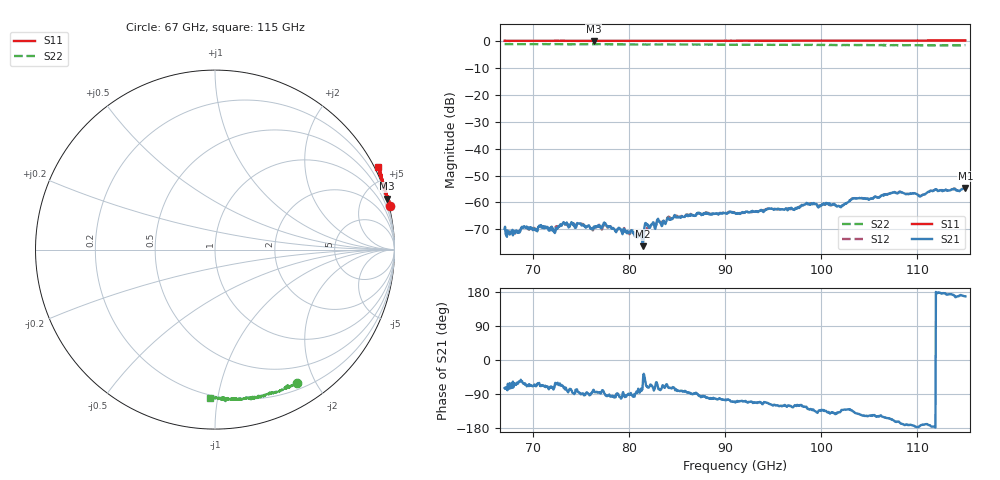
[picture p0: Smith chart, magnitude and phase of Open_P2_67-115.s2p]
!Keysight Technologies,N5247B,MY61256062,A.16.20.04
!Date: Tuesday, November 18, 2025 08:17:54
!Correction: S11(C  2-Port  )
!S21(C  2-Port  )
!S12(C  2-Port  )
!S22(C  2-Port  )
!S2P File: Measurements: S11, S21, S12, S22:
# Hz S  dB  R 50
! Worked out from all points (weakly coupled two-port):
!   1001 points, 67 GHz to 115 GHz, reference 50 ohm
!   highest |S21| = -54.66 dB at 115 GHz (marker M1); lowest = -76.2 dB at 81.4 GHz (marker M2)
!   lowest |S11| = 0.0 dB at 76.26 GHz (marker M3)
!   |S11| at or under -10 dB: nowhere
!   |S22| runs from -1.7 to -1.2 dB; largest |S21 - S12| = 0.00011
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6.7e10  0.06 13.9  -69.77 -74.0  -70.33 -74.0  -1.19 -58.6
6.8008e10  0.01 14.4  -71.39 -60.8  -71.47 -60.7  -1.22 -59.4
7.0744e10  0.04 15.2  -68.76 -66.6  -68.97 -64.3  -1.21 -61.5
7.2184e10  0.03 15.4  -70.79 -73.1  -69.63 -64.3  -1.20 -62.3
7.324e10  0.05 15.7  -67.93 -75.5  -68.18 -74.7  -1.24 -63.2
7.5016e10  -0.00 16.2  -68.54 -89.8  -67.99 -89.0  -1.26 -64.2
7.6264e10  -0.01 16.5  -69.16 -78.5  -69.54 -75.6  -1.26 -65.2
7.7464e10  0.02 16.8  -67.64 -90.2  -68.47 -87.2  -1.25 -66.3
8.1208e10  0.03 17.6  -72.11 -75.7  -71.30 -80.6  -1.34 -68.8
8.14e10  0.02 17.8  -76.25 -61.2  -74.38 -69.6  -1.34 -68.9
8.1784e10  0.02 17.7  -68.32 -69.4  -69.99 -62.3  -1.38 -69.0
8.3032e10  0.01 18.0  -66.54 -77.0  -66.67 -68.5  -1.35 -69.9
8.7208e10  0.04 19.3  -63.82 -94.0  -63.97 -92.8  -1.33 -73.3
9.1e10  0.04 20.3  -63.89 -110.0  -63.80 -109.6  -1.43 -75.5
9.724e10  0.06 22.0  -62.58 -119.0  -62.29 -119.7  -1.48 -80.2
9.9016e10  0.08 22.4  -60.57 -130.8  -60.44 -130.8  -1.48 -81.3
1.01896e11  0.08 23.6  -61.40 -137.5  -61.47 -135.2  -1.55 -83.2
1.03336e11  0.09 23.6  -58.50 -136.5  -58.43 -135.6  -1.54 -84.0
1.07032e11  0.13 24.3  -56.82 -154.5  -56.78 -153.3  -1.57 -87.1
1.10344e11  0.12 25.4  -57.66 -172.3  -57.62 -171.4  -1.62 -88.7
1.11784e11  0.14 25.8  -55.34 -176.5  -55.40 -175.2  -1.66 -89.6
1.15e11  0.16 26.8  -54.66 167.9  -54.76 168.8  -1.66 -91.9
